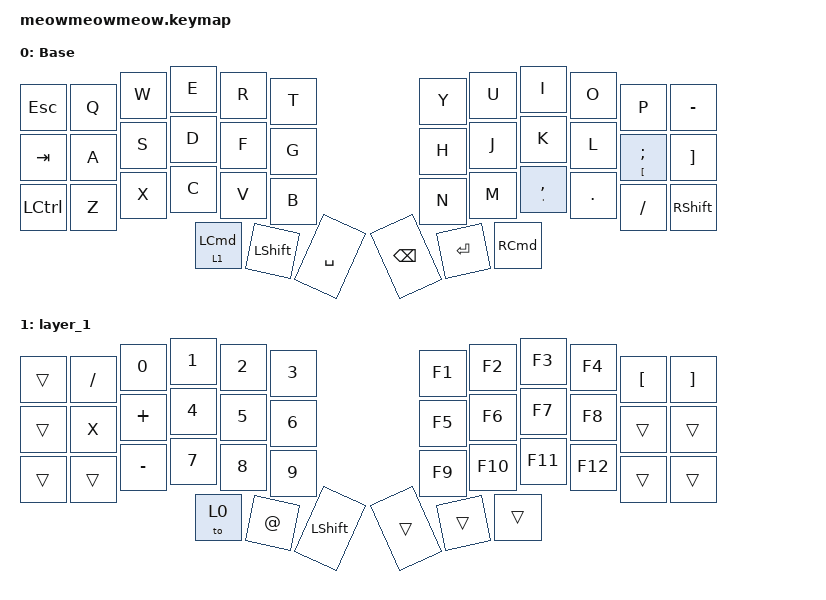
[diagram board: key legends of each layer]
#include <behaviors.dtsi>
#include <dt-bindings/zmk/keys.h>

/ {
    behaviors {
        new_behavior: new_behavior {
            compatible = "zmk,behavior-hold-tap";
            label = "NEW_BEHAVIOR";
            bindings = <&to>, <&kp>;

            #binding-cells = <2>;
            tapping-term-ms = <275>;
            flavor = "balanced";
        };

        commaapostrophe: new_behaviorr {
            compatible = "zmk,behavior-hold-tap";
            label = "comma,apostophe";
            bindings = <&kp>, <&kp>;

            #binding-cells = <2>;
            tapping-term-ms = <200>;
        };
    };

    keymap {
        compatible = "zmk,keymap";

        default_layer {
            display-name = "Base";
            bindings = <
&kp ESCAPE        &kp Q  &kp W  &kp E                         &kp R      &kp T      &kp Y          &kp U      &kp I                              &kp O    &kp P                                    &kp MINUS
&kp TAB           &kp A  &kp S  &kp D                         &kp F      &kp G      &kp H          &kp J      &kp K                              &kp L    &commaapostrophe LEFT_BRACKET SEMICOLON  &kp RIGHT_BRACKET
&kp LEFT_CONTROL  &kp Z  &kp X  &kp C                         &kp V      &kp B      &kp N          &kp M      &commaapostrophe APOSTROPHE COMMA  &kp DOT  &kp FSLH                                 &kp RIGHT_SHIFT
                                &new_behavior 1 LEFT_COMMAND  &kp LSHFT  &kp SPACE  &kp BACKSPACE  &kp ENTER  &kp RIGHT_COMMAND
            >;
        };

        layer_1 {
            bindings = <
&trans  &kp SLASH  &kp N0     &kp N1  &kp N2  &kp N3          &kp F1  &kp F2   &kp F3   &kp F4   &kp LBKT  &kp RBKT
&trans  &kp X      &kp PLUS   &kp N4  &kp N5  &kp N6          &kp F5  &kp F6   &kp F7   &kp F8   &trans    &trans
&trans  &trans     &kp MINUS  &kp N7  &kp N8  &kp N9          &kp F9  &kp F10  &kp F11  &kp F12  &trans    &trans
                              &to 0   &kp AT  &kp LEFT_SHIFT  &trans  &trans   &trans
            >;
        };
    };
};
